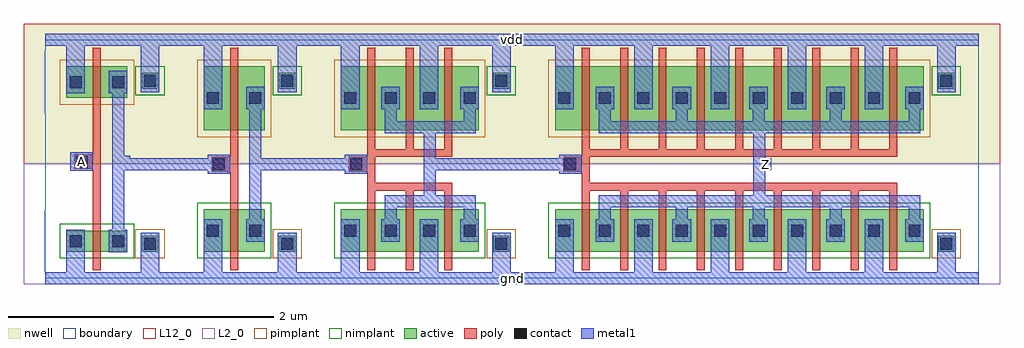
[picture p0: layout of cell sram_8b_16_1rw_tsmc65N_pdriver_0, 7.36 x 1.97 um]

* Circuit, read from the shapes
.subckt sram_8b_16_1rw_tsmc65N_pdriver_0 A Z gnd vdd
M1 sram_8b_16_1rw_tsmc65N_pinv_6_1/A A gnd gnd nfet w=0.16u l=0.06u
M2 sram_8b_16_1rw_tsmc65N_pinv_7_2/A sram_8b_16_1rw_tsmc65N_pinv_6_1/A gnd gnd nfet w=0.32u l=0.06u
M3 sram_8b_16_1rw_tsmc65N_pinv_8_3/A sram_8b_16_1rw_tsmc65N_pinv_7_2/A gnd gnd nfet w=0.32u l=0.06u m=3
M4 Z sram_8b_16_1rw_tsmc65N_pinv_8_3/A gnd gnd nfet w=0.32u l=0.06u m=9
M5 sram_8b_16_1rw_tsmc65N_pinv_6_1/A A vdd vdd pfet w=0.24u l=0.06u
M6 sram_8b_16_1rw_tsmc65N_pinv_7_2/A sram_8b_16_1rw_tsmc65N_pinv_6_1/A vdd vdd pfet w=0.485u l=0.06u
M7 sram_8b_16_1rw_tsmc65N_pinv_8_3/A sram_8b_16_1rw_tsmc65N_pinv_7_2/A vdd vdd pfet w=0.485u l=0.06u m=3
M8 Z sram_8b_16_1rw_tsmc65N_pinv_8_3/A vdd vdd pfet w=0.485u l=0.06u m=9
.ends

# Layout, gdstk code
import gdstk
lib = gdstk.Library(unit=1e-6, precision=1e-09)
def R(c, l, rs):  # rectangles x0, y0, x1, y1
    for r in rs: c.add(gdstk.rectangle(r[:2], r[2:], *l))
def A(c, l, x, y, w, h, nx, ny, dx, dy):  # array of equal rectangles
    R(c, l, [(x+i*dx, y+j*dy, x+i*dx+w, y+j*dy+h) for i in range(nx) for j in range(ny)])
L2_0 = (2, 0)
nwell = (3, 0)
active = (6, 0)
L12_0 = (12, 0)
poly = (17, 0)
pimplant = (25, 0)
nimplant = (26, 0)
contact = (30, 0)
metal1 = (31, 0)
boundary = (108, 0)

sram_8b_16_1rw_tsmc65n_c = lib.new_cell('sram_8b_16_1rw_tsmc65N_contact_11')
R(sram_8b_16_1rw_tsmc65n_c, nwell, [(-0.165,-0.15,0.305,0.32)])
R(sram_8b_16_1rw_tsmc65n_c, active, [(0.01,0.025,0.13,0.145)])
R(sram_8b_16_1rw_tsmc65n_c, pimplant, [(-0.04,-0.025,0.18,0.195)])
R(sram_8b_16_1rw_tsmc65n_c, contact, [(0.025,0.04,0.115,0.13)])
R(sram_8b_16_1rw_tsmc65n_c, metal1, [(0,0,0.14,0.17)])
R(sram_8b_16_1rw_tsmc65n_c, boundary, [(-0.165,-0.15,0.305,0.32)])

sram_8b_16_1rw_tsmc65n_p = lib.new_cell('sram_8b_16_1rw_tsmc65N_pmos_m1_w0_240_sm1_dm1_da_p')
R(sram_8b_16_1rw_tsmc65n_p, nwell, [(-0.16,-0.16,0.62,0.4)])
R(sram_8b_16_1rw_tsmc65n_p, active, [(0,0,0.46,0.24)])
R(sram_8b_16_1rw_tsmc65n_p, L12_0, [(-0.16,-0.16,0.62,0.4)])
R(sram_8b_16_1rw_tsmc65n_p, poly, [(0.2,-0.14,0.26,0.38), (0.2,-0.14,0.26,0.38)])
R(sram_8b_16_1rw_tsmc65n_p, pimplant, [(-0.05,-0.05,0.51,0.29)])
R(sram_8b_16_1rw_tsmc65n_p, metal1, [(0,0.035,0.14,0.205), (0.32,0.035,0.46,0.205)])
R(sram_8b_16_1rw_tsmc65n_p, boundary, [(-0.16,-0.16,0.62,0.4)])
sram_8b_16_1rw_tsmc65n_p.add(gdstk.Reference(sram_8b_16_1rw_tsmc65n_c, (0,0.035)))
sram_8b_16_1rw_tsmc65n_p.add(gdstk.Reference(sram_8b_16_1rw_tsmc65n_c, (0.32,0.035)))
sram_8b_16_1rw_tsmc65n_p.add(gdstk.Label('G', (0.23,0.12), layer=17, texttype=0))
sram_8b_16_1rw_tsmc65n_p.add(gdstk.Label('S', (0.07,0.12), layer=31, texttype=0))
sram_8b_16_1rw_tsmc65n_p.add(gdstk.Label('D', (0.39,0.12), layer=31, texttype=0))

c_sram_8b_16_1rw_tsmc65n_c = lib.new_cell('sram_8b_16_1rw_tsmc65N_contact_10')
R(c_sram_8b_16_1rw_tsmc65n_c, L2_0, [(-0.165,-0.15,0.305,0.32)])
R(c_sram_8b_16_1rw_tsmc65n_c, active, [(0.01,0.025,0.13,0.145)])
R(c_sram_8b_16_1rw_tsmc65n_c, nimplant, [(-0.04,-0.025,0.18,0.195)])
R(c_sram_8b_16_1rw_tsmc65n_c, contact, [(0.025,0.04,0.115,0.13)])
R(c_sram_8b_16_1rw_tsmc65n_c, metal1, [(0,0,0.14,0.17)])
R(c_sram_8b_16_1rw_tsmc65n_c, boundary, [(-0.165,-0.15,0.305,0.32)])

sram_8b_16_1rw_tsmc65n_n = lib.new_cell('sram_8b_16_1rw_tsmc65N_nmos_m1_w0_160_sm1_dm1_da_p')
R(sram_8b_16_1rw_tsmc65n_n, L2_0, [(-0.16,-0.16,0.62,0.32)])
R(sram_8b_16_1rw_tsmc65n_n, active, [(0,0,0.46,0.16)])
R(sram_8b_16_1rw_tsmc65n_n, L12_0, [(-0.16,-0.16,0.62,0.32)])
R(sram_8b_16_1rw_tsmc65n_n, poly, [(0.2,-0.14,0.26,0.3), (0.2,-0.14,0.26,0.3)])
R(sram_8b_16_1rw_tsmc65n_n, nimplant, [(-0.05,-0.05,0.51,0.21)])
R(sram_8b_16_1rw_tsmc65n_n, metal1, [(0,-0.005,0.14,0.165), (0.32,-0.005,0.46,0.165)])
R(sram_8b_16_1rw_tsmc65n_n, boundary, [(-0.16,-0.16,0.62,0.32)])
sram_8b_16_1rw_tsmc65n_n.add(gdstk.Reference(c_sram_8b_16_1rw_tsmc65n_c, (0,-0.005)))
sram_8b_16_1rw_tsmc65n_n.add(gdstk.Reference(c_sram_8b_16_1rw_tsmc65n_c, (0.32,-0.005)))
sram_8b_16_1rw_tsmc65n_n.add(gdstk.Label('G', (0.23,0.08), layer=17, texttype=0))
sram_8b_16_1rw_tsmc65n_n.add(gdstk.Label('S', (0.07,0.08), layer=31, texttype=0))
sram_8b_16_1rw_tsmc65n_n.add(gdstk.Label('D', (0.39,0.08), layer=31, texttype=0))

c_sram_8b_16_1rw_tsmc65n_c_ = lib.new_cell('sram_8b_16_1rw_tsmc65N_contact_12')
R(c_sram_8b_16_1rw_tsmc65n_c_, nwell, [(-0.165,-0.15,0.305,0.32)])
R(c_sram_8b_16_1rw_tsmc65n_c_, active, [(0.01,0.025,0.13,0.145)])
R(c_sram_8b_16_1rw_tsmc65n_c_, nimplant, [(-0.04,-0.025,0.18,0.195)])
R(c_sram_8b_16_1rw_tsmc65n_c_, contact, [(0.025,0.04,0.115,0.13)])
R(c_sram_8b_16_1rw_tsmc65n_c_, metal1, [(0,0,0.14,0.17)])
R(c_sram_8b_16_1rw_tsmc65n_c_, boundary, [(-0.165,-0.15,0.305,0.32)])

c_sram_8b_16_1rw_tsmc65n_c__ = lib.new_cell('sram_8b_16_1rw_tsmc65N_contact_13')
R(c_sram_8b_16_1rw_tsmc65n_c__, L2_0, [(-0.165,-0.15,0.305,0.32)])
R(c_sram_8b_16_1rw_tsmc65n_c__, active, [(0.01,0.025,0.13,0.145)])
R(c_sram_8b_16_1rw_tsmc65n_c__, pimplant, [(-0.04,-0.025,0.18,0.195)])
R(c_sram_8b_16_1rw_tsmc65n_c__, contact, [(0.025,0.04,0.115,0.13)])
R(c_sram_8b_16_1rw_tsmc65n_c__, metal1, [(0,0,0.14,0.17)])
R(c_sram_8b_16_1rw_tsmc65n_c__, boundary, [(-0.165,-0.15,0.305,0.32)])

c_sram_8b_16_1rw_tsmc65n_c___ = lib.new_cell('sram_8b_16_1rw_tsmc65N_contact_14')
R(c_sram_8b_16_1rw_tsmc65n_c___, poly, [(0.03,0.015,0.14,0.125)])
R(c_sram_8b_16_1rw_tsmc65n_c___, contact, [(0.04,0.025,0.13,0.115)])
R(c_sram_8b_16_1rw_tsmc65n_c___, metal1, [(0,0,0.17,0.14)])
R(c_sram_8b_16_1rw_tsmc65n_c___, boundary, [(0,0,0.17,0.14)])

c_sram_8b_16_1rw_tsmc65n_p = lib.new_cell('sram_8b_16_1rw_tsmc65N_pinv_5')
R(c_sram_8b_16_1rw_tsmc65n_p, L2_0, [(-0.16,-0.045,1.195,0.865)])
R(c_sram_8b_16_1rw_tsmc65n_p, nwell, [(-0.16,0.865,1.195,1.92)])
R(c_sram_8b_16_1rw_tsmc65n_p, L12_0, [(-0.16,-0.045,1.195,0.865), (-0.16,0.865,1.195,1.92)])
R(c_sram_8b_16_1rw_tsmc65n_p, poly, [(0.36,0.5,0.42,1.22), (0.275,0.825,0.36,0.935)])
R(c_sram_8b_16_1rw_tsmc65n_p, metal1, [(0,-0.045,1.035,0.045), (0.16,-0.045,0.3,0.195), (0.72,0,0.86,0.26), (0.505,0.195,0.595,1.565), (0.19,0.81,0.36,0.95), (0.55,0.835,0.64,0.925), (0.16,1.395,0.3,1.845), (0.72,1.49,0.86,1.8), (0,1.755,1.035,1.845)])
R(c_sram_8b_16_1rw_tsmc65n_p, boundary, [(0,0,1.035,1.8), (0,0,1.035,1.8)])
c_sram_8b_16_1rw_tsmc65n_p.add(gdstk.Reference(sram_8b_16_1rw_tsmc65n_p, (0.16,1.36)))
c_sram_8b_16_1rw_tsmc65n_p.add(gdstk.Reference(sram_8b_16_1rw_tsmc65n_n, (0.16,0.2)))
c_sram_8b_16_1rw_tsmc65n_p.add(gdstk.Reference(c_sram_8b_16_1rw_tsmc65n_c_, (0.72,1.405)))
c_sram_8b_16_1rw_tsmc65n_p.add(gdstk.Reference(c_sram_8b_16_1rw_tsmc65n_c__, (0.72,0.175)))
c_sram_8b_16_1rw_tsmc65n_p.add(gdstk.Reference(c_sram_8b_16_1rw_tsmc65n_c___, (0.19,0.81)))
c_sram_8b_16_1rw_tsmc65n_p.add(gdstk.Label('A', (0.275,0.88), layer=31, texttype=0))
c_sram_8b_16_1rw_tsmc65n_p.add(gdstk.Label('Z', (0.595,0.88), layer=31, texttype=0))
c_sram_8b_16_1rw_tsmc65n_p.add(gdstk.Label('gnd', (0.518,0), layer=31, texttype=0))
c_sram_8b_16_1rw_tsmc65n_p.add(gdstk.Label('vdd', (0.518,1.8), layer=31, texttype=0))

c_sram_8b_16_1rw_tsmc65n_p_ = lib.new_cell('sram_8b_16_1rw_tsmc65N_pmos_m1_w0_485_sm1_dm1_da_p')
R(c_sram_8b_16_1rw_tsmc65n_p_, nwell, [(-0.16,-0.16,0.62,0.645)])
R(c_sram_8b_16_1rw_tsmc65n_p_, active, [(0,0,0.46,0.485)])
R(c_sram_8b_16_1rw_tsmc65n_p_, L12_0, [(-0.16,-0.16,0.62,0.645)])
R(c_sram_8b_16_1rw_tsmc65n_p_, poly, [(0.2,-0.14,0.26,0.625), (0.2,-0.14,0.26,0.625)])
R(c_sram_8b_16_1rw_tsmc65n_p_, pimplant, [(-0.05,-0.05,0.51,0.535)])
R(c_sram_8b_16_1rw_tsmc65n_p_, metal1, [(0,0.16,0.14,0.33), (0.32,0.16,0.46,0.33)])
R(c_sram_8b_16_1rw_tsmc65n_p_, boundary, [(-0.16,-0.16,0.62,0.645)])
c_sram_8b_16_1rw_tsmc65n_p_.add(gdstk.Reference(sram_8b_16_1rw_tsmc65n_c, (0,0.16)))
c_sram_8b_16_1rw_tsmc65n_p_.add(gdstk.Reference(sram_8b_16_1rw_tsmc65n_c, (0.32,0.16)))
c_sram_8b_16_1rw_tsmc65n_p_.add(gdstk.Label('G', (0.23,0.242), layer=17, texttype=0))
c_sram_8b_16_1rw_tsmc65n_p_.add(gdstk.Label('S', (0.07,0.245), layer=31, texttype=0))
c_sram_8b_16_1rw_tsmc65n_p_.add(gdstk.Label('D', (0.39,0.245), layer=31, texttype=0))

c_sram_8b_16_1rw_tsmc65n_n = lib.new_cell('sram_8b_16_1rw_tsmc65N_nmos_m1_w0_320_sm1_dm1_da_p')
R(c_sram_8b_16_1rw_tsmc65n_n, L2_0, [(-0.16,-0.16,0.62,0.48)])
R(c_sram_8b_16_1rw_tsmc65n_n, active, [(0,0,0.46,0.32)])
R(c_sram_8b_16_1rw_tsmc65n_n, L12_0, [(-0.16,-0.16,0.62,0.48)])
R(c_sram_8b_16_1rw_tsmc65n_n, poly, [(0.2,-0.14,0.26,0.46), (0.2,-0.14,0.26,0.46)])
R(c_sram_8b_16_1rw_tsmc65n_n, nimplant, [(-0.05,-0.05,0.51,0.37)])
R(c_sram_8b_16_1rw_tsmc65n_n, metal1, [(0,0.075,0.14,0.245), (0.32,0.075,0.46,0.245)])
R(c_sram_8b_16_1rw_tsmc65n_n, boundary, [(-0.16,-0.16,0.62,0.48)])
c_sram_8b_16_1rw_tsmc65n_n.add(gdstk.Reference(c_sram_8b_16_1rw_tsmc65n_c, (0,0.075)))
c_sram_8b_16_1rw_tsmc65n_n.add(gdstk.Reference(c_sram_8b_16_1rw_tsmc65n_c, (0.32,0.075)))
c_sram_8b_16_1rw_tsmc65n_n.add(gdstk.Label('G', (0.23,0.16), layer=17, texttype=0))
c_sram_8b_16_1rw_tsmc65n_n.add(gdstk.Label('S', (0.07,0.16), layer=31, texttype=0))
c_sram_8b_16_1rw_tsmc65n_n.add(gdstk.Label('D', (0.39,0.16), layer=31, texttype=0))

c_sram_8b_16_1rw_tsmc65n_p__ = lib.new_cell('sram_8b_16_1rw_tsmc65N_pinv_6')
R(c_sram_8b_16_1rw_tsmc65n_p__, L2_0, [(-0.16,-0.045,1.195,0.865)])
R(c_sram_8b_16_1rw_tsmc65n_p__, nwell, [(-0.16,0.865,1.195,1.92)])
R(c_sram_8b_16_1rw_tsmc65n_p__, L12_0, [(-0.16,-0.045,1.195,0.865), (-0.16,0.865,1.195,1.92)])
R(c_sram_8b_16_1rw_tsmc65n_p__, poly, [(0.36,0.66,0.42,0.975), (0.275,0.805,0.36,0.915)])
R(c_sram_8b_16_1rw_tsmc65n_p__, metal1, [(0,-0.045,1.035,0.045), (0.16,-0.045,0.3,0.275), (0.72,0,0.86,0.26), (0.505,0.275,0.595,1.445), (0.19,0.79,0.36,0.93), (0.55,0.815,0.64,0.905), (0.16,1.275,0.3,1.845), (0.72,1.49,0.86,1.8), (0,1.755,1.035,1.845)])
R(c_sram_8b_16_1rw_tsmc65n_p__, boundary, [(0,0,1.035,1.8), (0,0,1.035,1.8)])
c_sram_8b_16_1rw_tsmc65n_p__.add(gdstk.Reference(c_sram_8b_16_1rw_tsmc65n_p_, (0.16,1.115)))
c_sram_8b_16_1rw_tsmc65n_p__.add(gdstk.Reference(c_sram_8b_16_1rw_tsmc65n_n, (0.16,0.2)))
c_sram_8b_16_1rw_tsmc65n_p__.add(gdstk.Reference(c_sram_8b_16_1rw_tsmc65n_c_, (0.72,1.405)))
c_sram_8b_16_1rw_tsmc65n_p__.add(gdstk.Reference(c_sram_8b_16_1rw_tsmc65n_c__, (0.72,0.175)))
c_sram_8b_16_1rw_tsmc65n_p__.add(gdstk.Reference(c_sram_8b_16_1rw_tsmc65n_c___, (0.19,0.79)))
c_sram_8b_16_1rw_tsmc65n_p__.add(gdstk.Label('A', (0.275,0.86), layer=31, texttype=0))
c_sram_8b_16_1rw_tsmc65n_p__.add(gdstk.Label('Z', (0.595,0.86), layer=31, texttype=0))
c_sram_8b_16_1rw_tsmc65n_p__.add(gdstk.Label('gnd', (0.518,0), layer=31, texttype=0))
c_sram_8b_16_1rw_tsmc65n_p__.add(gdstk.Label('vdd', (0.518,1.8), layer=31, texttype=0))

c_sram_8b_16_1rw_tsmc65n_p___ = lib.new_cell('sram_8b_16_1rw_tsmc65N_pmos_m3_w0_485_sm1_dm1_da_p')
R(c_sram_8b_16_1rw_tsmc65n_p___, nwell, [(-0.16,-0.16,1.2,0.645)])
R(c_sram_8b_16_1rw_tsmc65n_p___, active, [(0,0,1.04,0.485)])
R(c_sram_8b_16_1rw_tsmc65n_p___, L12_0, [(-0.16,-0.16,1.2,0.645)])
A(c_sram_8b_16_1rw_tsmc65n_p___, poly, 0.2, -0.14, 0.06, 0.765, 3, 1, 0.29, 0)
R(c_sram_8b_16_1rw_tsmc65n_p___, poly, [(0.2,-0.2,0.84,-0.14)])
R(c_sram_8b_16_1rw_tsmc65n_p___, pimplant, [(-0.05,-0.05,1.09,0.535)])
R(c_sram_8b_16_1rw_tsmc65n_p___, metal1, [(0.33,-0.02,1.015,0.07), (0.33,0.02,0.42,0.24), (0.925,0.02,1.015,0.24), (0,0.16,0.14,0.33), (0.595,0.16,0.735,0.33)])
R(c_sram_8b_16_1rw_tsmc65n_p___, boundary, [(-0.16,-0.2,1.2,0.645)])
c_sram_8b_16_1rw_tsmc65n_p___.add(gdstk.Reference(sram_8b_16_1rw_tsmc65n_c, (0,0.16)))
c_sram_8b_16_1rw_tsmc65n_p___.add(gdstk.Reference(sram_8b_16_1rw_tsmc65n_c, (0.305,0.16)))
c_sram_8b_16_1rw_tsmc65n_p___.add(gdstk.Reference(sram_8b_16_1rw_tsmc65n_c, (0.595,0.16)))
c_sram_8b_16_1rw_tsmc65n_p___.add(gdstk.Reference(sram_8b_16_1rw_tsmc65n_c, (0.9,0.16)))
c_sram_8b_16_1rw_tsmc65n_p___.add(gdstk.Label('G', (0.52,-0.17), layer=17, texttype=0))
c_sram_8b_16_1rw_tsmc65n_p___.add(gdstk.Label('S', (0.07,0.245), layer=31, texttype=0))
c_sram_8b_16_1rw_tsmc65n_p___.add(gdstk.Label('S', (0.665,0.245), layer=31, texttype=0))
c_sram_8b_16_1rw_tsmc65n_p___.add(gdstk.Label('D', (0.673,0.025), layer=31, texttype=0))

c_sram_8b_16_1rw_tsmc65n_n_ = lib.new_cell('sram_8b_16_1rw_tsmc65N_nmos_m3_w0_320_sm1_dm1_da_p')
R(c_sram_8b_16_1rw_tsmc65n_n_, L2_0, [(-0.16,-0.16,1.2,0.48)])
R(c_sram_8b_16_1rw_tsmc65n_n_, active, [(0,0,1.04,0.32)])
R(c_sram_8b_16_1rw_tsmc65n_n_, L12_0, [(-0.16,-0.16,1.2,0.48)])
A(c_sram_8b_16_1rw_tsmc65n_n_, poly, 0.2, -0.14, 0.06, 0.6, 3, 1, 0.29, 0)
R(c_sram_8b_16_1rw_tsmc65n_n_, poly, [(0.2,0.46,0.84,0.52)])
R(c_sram_8b_16_1rw_tsmc65n_n_, nimplant, [(-0.05,-0.05,1.09,0.37)])
R(c_sram_8b_16_1rw_tsmc65n_n_, metal1, [(0,0.075,0.14,0.245), (0.595,0.075,0.735,0.245), (0.33,0.16,0.42,0.38), (0.925,0.16,1.015,0.38), (0.33,0.335,1.015,0.425)])
R(c_sram_8b_16_1rw_tsmc65n_n_, boundary, [(-0.16,-0.16,1.2,0.52)])
c_sram_8b_16_1rw_tsmc65n_n_.add(gdstk.Reference(c_sram_8b_16_1rw_tsmc65n_c, (0,0.075)))
c_sram_8b_16_1rw_tsmc65n_n_.add(gdstk.Reference(c_sram_8b_16_1rw_tsmc65n_c, (0.305,0.075)))
c_sram_8b_16_1rw_tsmc65n_n_.add(gdstk.Reference(c_sram_8b_16_1rw_tsmc65n_c, (0.595,0.075)))
c_sram_8b_16_1rw_tsmc65n_n_.add(gdstk.Reference(c_sram_8b_16_1rw_tsmc65n_c, (0.9,0.075)))
c_sram_8b_16_1rw_tsmc65n_n_.add(gdstk.Label('G', (0.52,0.49), layer=17, texttype=0))
c_sram_8b_16_1rw_tsmc65n_n_.add(gdstk.Label('S', (0.665,0.16), layer=31, texttype=0))
c_sram_8b_16_1rw_tsmc65n_n_.add(gdstk.Label('S', (0.07,0.16), layer=31, texttype=0))
c_sram_8b_16_1rw_tsmc65n_n_.add(gdstk.Label('D', (0.673,0.38), layer=31, texttype=0))

c_sram_8b_16_1rw_tsmc65n_p____ = lib.new_cell('sram_8b_16_1rw_tsmc65N_pinv_7')
R(c_sram_8b_16_1rw_tsmc65n_p____, L2_0, [(-0.16,-0.045,1.775,0.865)])
R(c_sram_8b_16_1rw_tsmc65n_p____, nwell, [(-0.16,0.865,1.775,1.92)])
R(c_sram_8b_16_1rw_tsmc65n_p____, L12_0, [(-0.16,-0.045,1.775,0.865), (-0.16,0.865,1.775,1.92)])
R(c_sram_8b_16_1rw_tsmc65n_p____, poly, [(0.36,0.72,0.42,0.915), (0.275,0.805,0.36,0.915)])
R(c_sram_8b_16_1rw_tsmc65n_p____, metal1, [(0,-0.045,1.615,0.045), (0.16,-0.045,0.3,0.275), (0.755,-0.045,0.895,0.275), (1.3,0,1.44,0.26), (0.785,0.535,0.875,1.185), (0.19,0.79,0.36,0.93), (0.83,0.815,0.92,0.905), (0.16,1.275,0.3,1.845), (0.755,1.275,0.895,1.845), (1.3,1.49,1.44,1.8), (0,1.755,1.615,1.845)])
R(c_sram_8b_16_1rw_tsmc65n_p____, boundary, [(0,0,1.615,1.8), (0,0,1.615,1.8)])
c_sram_8b_16_1rw_tsmc65n_p____.add(gdstk.Reference(c_sram_8b_16_1rw_tsmc65n_p___, (0.16,1.115)))
c_sram_8b_16_1rw_tsmc65n_p____.add(gdstk.Reference(c_sram_8b_16_1rw_tsmc65n_n_, (0.16,0.2)))
c_sram_8b_16_1rw_tsmc65n_p____.add(gdstk.Reference(c_sram_8b_16_1rw_tsmc65n_c_, (1.3,1.405)))
c_sram_8b_16_1rw_tsmc65n_p____.add(gdstk.Reference(c_sram_8b_16_1rw_tsmc65n_c__, (1.3,0.175)))
c_sram_8b_16_1rw_tsmc65n_p____.add(gdstk.Reference(c_sram_8b_16_1rw_tsmc65n_c___, (0.19,0.79)))
c_sram_8b_16_1rw_tsmc65n_p____.add(gdstk.Label('A', (0.275,0.86), layer=31, texttype=0))
c_sram_8b_16_1rw_tsmc65n_p____.add(gdstk.Label('Z', (0.875,0.86), layer=31, texttype=0))
c_sram_8b_16_1rw_tsmc65n_p____.add(gdstk.Label('gnd', (0.808,0), layer=31, texttype=0))
c_sram_8b_16_1rw_tsmc65n_p____.add(gdstk.Label('vdd', (0.808,1.8), layer=31, texttype=0))

c_sram_8b_16_1rw_tsmc65n_p_____ = lib.new_cell('sram_8b_16_1rw_tsmc65N_pmos_m9_w0_485_sm1_dm1_da_p')
R(c_sram_8b_16_1rw_tsmc65n_p_____, nwell, [(-0.16,-0.16,2.94,0.645)])
R(c_sram_8b_16_1rw_tsmc65n_p_____, active, [(0,0,2.78,0.485)])
R(c_sram_8b_16_1rw_tsmc65n_p_____, L12_0, [(-0.16,-0.16,2.94,0.645)])
A(c_sram_8b_16_1rw_tsmc65n_p_____, poly, 0.2, -0.14, 0.06, 0.765, 9, 1, 0.29, 0)
R(c_sram_8b_16_1rw_tsmc65n_p_____, poly, [(0.2,-0.2,2.58,-0.14)])
R(c_sram_8b_16_1rw_tsmc65n_p_____, pimplant, [(-0.05,-0.05,2.83,0.535)])
A(c_sram_8b_16_1rw_tsmc65n_p_____, metal1, 0.33, 0.02, 0.09, 0.22, 4, 1, 0.58, 0)
A(c_sram_8b_16_1rw_tsmc65n_p_____, metal1, 0.595, 0.16, 0.14, 0.17, 4, 1, 0.58, 0)
R(c_sram_8b_16_1rw_tsmc65n_p_____, metal1, [(0.33,-0.02,2.755,0.07), (2.665,0.02,2.755,0.24), (0,0.16,0.14,0.33)])
R(c_sram_8b_16_1rw_tsmc65n_p_____, boundary, [(-0.16,-0.2,2.94,0.645)])
c_sram_8b_16_1rw_tsmc65n_p_____.add(gdstk.Reference(sram_8b_16_1rw_tsmc65n_c, (0,0.16)))
c_sram_8b_16_1rw_tsmc65n_p_____.add(gdstk.Reference(sram_8b_16_1rw_tsmc65n_c, (0.305,0.16)))
c_sram_8b_16_1rw_tsmc65n_p_____.add(gdstk.Reference(sram_8b_16_1rw_tsmc65n_c, (0.595,0.16)))
c_sram_8b_16_1rw_tsmc65n_p_____.add(gdstk.Reference(sram_8b_16_1rw_tsmc65n_c, (0.885,0.16)))
c_sram_8b_16_1rw_tsmc65n_p_____.add(gdstk.Reference(sram_8b_16_1rw_tsmc65n_c, (1.175,0.16)))
c_sram_8b_16_1rw_tsmc65n_p_____.add(gdstk.Reference(sram_8b_16_1rw_tsmc65n_c, (1.465,0.16)))
c_sram_8b_16_1rw_tsmc65n_p_____.add(gdstk.Reference(sram_8b_16_1rw_tsmc65n_c, (1.755,0.16)))
c_sram_8b_16_1rw_tsmc65n_p_____.add(gdstk.Reference(sram_8b_16_1rw_tsmc65n_c, (2.045,0.16)))
c_sram_8b_16_1rw_tsmc65n_p_____.add(gdstk.Reference(sram_8b_16_1rw_tsmc65n_c, (2.335,0.16)))
c_sram_8b_16_1rw_tsmc65n_p_____.add(gdstk.Reference(sram_8b_16_1rw_tsmc65n_c, (2.64,0.16)))
c_sram_8b_16_1rw_tsmc65n_p_____.add(gdstk.Label('G', (1.39,-0.17), layer=17, texttype=0))
c_sram_8b_16_1rw_tsmc65n_p_____.add(gdstk.Label('S', (1.245,0.245), layer=31, texttype=0))
c_sram_8b_16_1rw_tsmc65n_p_____.add(gdstk.Label('S', (0.665,0.245), layer=31, texttype=0))
c_sram_8b_16_1rw_tsmc65n_p_____.add(gdstk.Label('S', (0.07,0.245), layer=31, texttype=0))
c_sram_8b_16_1rw_tsmc65n_p_____.add(gdstk.Label('S', (2.405,0.245), layer=31, texttype=0))
c_sram_8b_16_1rw_tsmc65n_p_____.add(gdstk.Label('S', (1.825,0.245), layer=31, texttype=0))
c_sram_8b_16_1rw_tsmc65n_p_____.add(gdstk.Label('D', (1.542,0.025), layer=31, texttype=0))

c_sram_8b_16_1rw_tsmc65n_n__ = lib.new_cell('sram_8b_16_1rw_tsmc65N_nmos_m9_w0_320_sm1_dm1_da_p')
R(c_sram_8b_16_1rw_tsmc65n_n__, L2_0, [(-0.16,-0.16,2.94,0.48)])
R(c_sram_8b_16_1rw_tsmc65n_n__, active, [(0,0,2.78,0.32)])
R(c_sram_8b_16_1rw_tsmc65n_n__, L12_0, [(-0.16,-0.16,2.94,0.48)])
A(c_sram_8b_16_1rw_tsmc65n_n__, poly, 0.2, -0.14, 0.06, 0.6, 9, 1, 0.29, 0)
R(c_sram_8b_16_1rw_tsmc65n_n__, poly, [(0.2,0.46,2.58,0.52)])
R(c_sram_8b_16_1rw_tsmc65n_n__, nimplant, [(-0.05,-0.05,2.83,0.37)])
A(c_sram_8b_16_1rw_tsmc65n_n__, metal1, 0.595, 0.075, 0.14, 0.17, 4, 1, 0.58, 0)
A(c_sram_8b_16_1rw_tsmc65n_n__, metal1, 0.33, 0.16, 0.09, 0.22, 4, 1, 0.58, 0)
R(c_sram_8b_16_1rw_tsmc65n_n__, metal1, [(0,0.075,0.14,0.245), (2.665,0.16,2.755,0.38), (0.33,0.335,2.755,0.425)])
R(c_sram_8b_16_1rw_tsmc65n_n__, boundary, [(-0.16,-0.16,2.94,0.52)])
c_sram_8b_16_1rw_tsmc65n_n__.add(gdstk.Reference(c_sram_8b_16_1rw_tsmc65n_c, (0,0.075)))
c_sram_8b_16_1rw_tsmc65n_n__.add(gdstk.Reference(c_sram_8b_16_1rw_tsmc65n_c, (0.305,0.075)))
c_sram_8b_16_1rw_tsmc65n_n__.add(gdstk.Reference(c_sram_8b_16_1rw_tsmc65n_c, (0.595,0.075)))
c_sram_8b_16_1rw_tsmc65n_n__.add(gdstk.Reference(c_sram_8b_16_1rw_tsmc65n_c, (0.885,0.075)))
c_sram_8b_16_1rw_tsmc65n_n__.add(gdstk.Reference(c_sram_8b_16_1rw_tsmc65n_c, (1.175,0.075)))
c_sram_8b_16_1rw_tsmc65n_n__.add(gdstk.Reference(c_sram_8b_16_1rw_tsmc65n_c, (1.465,0.075)))
c_sram_8b_16_1rw_tsmc65n_n__.add(gdstk.Reference(c_sram_8b_16_1rw_tsmc65n_c, (1.755,0.075)))
c_sram_8b_16_1rw_tsmc65n_n__.add(gdstk.Reference(c_sram_8b_16_1rw_tsmc65n_c, (2.045,0.075)))
c_sram_8b_16_1rw_tsmc65n_n__.add(gdstk.Reference(c_sram_8b_16_1rw_tsmc65n_c, (2.335,0.075)))
c_sram_8b_16_1rw_tsmc65n_n__.add(gdstk.Reference(c_sram_8b_16_1rw_tsmc65n_c, (2.64,0.075)))
c_sram_8b_16_1rw_tsmc65n_n__.add(gdstk.Label('G', (1.39,0.49), layer=17, texttype=0))
c_sram_8b_16_1rw_tsmc65n_n__.add(gdstk.Label('S', (0.665,0.16), layer=31, texttype=0))
c_sram_8b_16_1rw_tsmc65n_n__.add(gdstk.Label('S', (2.405,0.16), layer=31, texttype=0))
c_sram_8b_16_1rw_tsmc65n_n__.add(gdstk.Label('S', (0.07,0.16), layer=31, texttype=0))
c_sram_8b_16_1rw_tsmc65n_n__.add(gdstk.Label('S', (1.245,0.16), layer=31, texttype=0))
c_sram_8b_16_1rw_tsmc65n_n__.add(gdstk.Label('S', (1.825,0.16), layer=31, texttype=0))
c_sram_8b_16_1rw_tsmc65n_n__.add(gdstk.Label('D', (1.542,0.38), layer=31, texttype=0))

c_sram_8b_16_1rw_tsmc65n_p______ = lib.new_cell('sram_8b_16_1rw_tsmc65N_pinv_8')
R(c_sram_8b_16_1rw_tsmc65n_p______, L2_0, [(-0.16,-0.045,3.515,0.865)])
R(c_sram_8b_16_1rw_tsmc65n_p______, nwell, [(-0.16,0.865,3.515,1.92)])
R(c_sram_8b_16_1rw_tsmc65n_p______, L12_0, [(-0.16,-0.045,3.515,0.865), (-0.16,0.865,3.515,1.92)])
R(c_sram_8b_16_1rw_tsmc65n_p______, poly, [(0.36,0.72,0.42,0.915), (0.275,0.805,0.36,0.915)])
A(c_sram_8b_16_1rw_tsmc65n_p______, metal1, 0.755, -0.045, 0.14, 0.32, 4, 1, 0.58, 0)
A(c_sram_8b_16_1rw_tsmc65n_p______, metal1, 0.755, 1.275, 0.14, 0.57, 4, 1, 0.58, 0)
R(c_sram_8b_16_1rw_tsmc65n_p______, metal1, [(0,-0.045,3.355,0.045), (0.16,-0.045,0.3,0.275), (3.04,0,3.18,0.26), (1.655,0.535,1.745,1.185), (0.19,0.79,0.36,0.93), (1.7,0.815,1.79,0.905), (0.16,1.275,0.3,1.845), (3.04,1.49,3.18,1.8), (0,1.755,3.355,1.845)])
R(c_sram_8b_16_1rw_tsmc65n_p______, boundary, [(0,0,3.355,1.8), (0,0,3.355,1.8)])
c_sram_8b_16_1rw_tsmc65n_p______.add(gdstk.Reference(c_sram_8b_16_1rw_tsmc65n_p_____, (0.16,1.115)))
c_sram_8b_16_1rw_tsmc65n_p______.add(gdstk.Reference(c_sram_8b_16_1rw_tsmc65n_n__, (0.16,0.2)))
c_sram_8b_16_1rw_tsmc65n_p______.add(gdstk.Reference(c_sram_8b_16_1rw_tsmc65n_c_, (3.04,1.405)))
c_sram_8b_16_1rw_tsmc65n_p______.add(gdstk.Reference(c_sram_8b_16_1rw_tsmc65n_c__, (3.04,0.175)))
c_sram_8b_16_1rw_tsmc65n_p______.add(gdstk.Reference(c_sram_8b_16_1rw_tsmc65n_c___, (0.19,0.79)))
c_sram_8b_16_1rw_tsmc65n_p______.add(gdstk.Label('A', (0.275,0.86), layer=31, texttype=0))
c_sram_8b_16_1rw_tsmc65n_p______.add(gdstk.Label('Z', (1.745,0.86), layer=31, texttype=0))
c_sram_8b_16_1rw_tsmc65n_p______.add(gdstk.Label('gnd', (1.678,0), layer=31, texttype=0))
c_sram_8b_16_1rw_tsmc65n_p______.add(gdstk.Label('vdd', (1.678,1.8), layer=31, texttype=0))

c_sram_8b_16_1rw_tsmc65n_p_______ = lib.new_cell('sram_8b_16_1rw_tsmc65N_pdriver_0')
R(c_sram_8b_16_1rw_tsmc65n_p_______, L2_0, [(-0.16,-0.045,7.2,0.865)])
R(c_sram_8b_16_1rw_tsmc65n_p_______, nwell, [(-0.16,0.865,7.2,1.92)])
R(c_sram_8b_16_1rw_tsmc65n_p_______, L12_0, [(-0.16,-0.045,7.2,0.865), (-0.16,0.865,7.2,1.92)])
R(c_sram_8b_16_1rw_tsmc65n_p_______, metal1, [(0,-0.045,7.04,0.045), (0.19,0.81,0.36,0.95), (0.55,0.815,0.64,0.905), (0.595,0.815,1.31,0.905), (1.63,0.815,2.345,0.905), (2.945,0.815,3.96,0.905), (5.385,0.815,5.475,0.905), (0.55,0.86,0.64,0.88), (0,1.755,7.04,1.845)])
R(c_sram_8b_16_1rw_tsmc65n_p_______, boundary, [(0,0,7.04,1.8), (0,0,7.04,1.8)])
c_sram_8b_16_1rw_tsmc65n_p_______.add(gdstk.Reference(c_sram_8b_16_1rw_tsmc65n_p, (0,0)))
c_sram_8b_16_1rw_tsmc65n_p_______.add(gdstk.Reference(c_sram_8b_16_1rw_tsmc65n_p__, (1.035,0)))
c_sram_8b_16_1rw_tsmc65n_p_______.add(gdstk.Reference(c_sram_8b_16_1rw_tsmc65n_p____, (2.07,0)))
c_sram_8b_16_1rw_tsmc65n_p_______.add(gdstk.Reference(c_sram_8b_16_1rw_tsmc65n_p______, (3.685,0)))
c_sram_8b_16_1rw_tsmc65n_p_______.add(gdstk.Label('Z', (5.43,0.86), layer=31, texttype=0))
c_sram_8b_16_1rw_tsmc65n_p_______.add(gdstk.Label('A', (0.275,0.88), layer=31, texttype=0))
c_sram_8b_16_1rw_tsmc65n_p_______.add(gdstk.Label('gnd', (3.52,0), layer=31, texttype=0))
c_sram_8b_16_1rw_tsmc65n_p_______.add(gdstk.Label('vdd', (3.52,1.8), layer=31, texttype=0))

lib.write_gds('sram_8b_16_1rw_tsmc65N_pdriver_0.gds')
